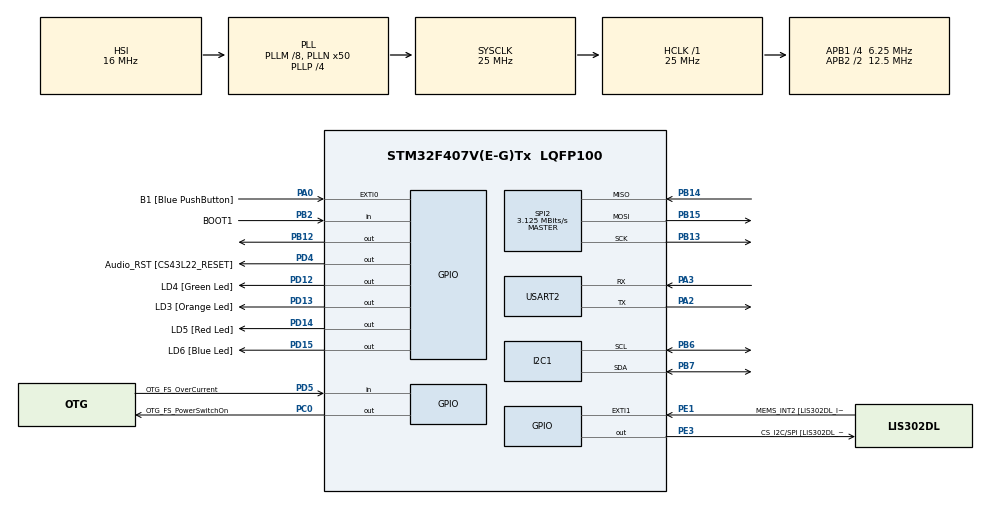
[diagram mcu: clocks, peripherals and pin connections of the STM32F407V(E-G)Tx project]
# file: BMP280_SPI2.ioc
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ADC1.Channel-0\#ChannelRegularConversion=ADC_CHANNEL_TEMPSENSOR
ADC1.NbrOfConversion=1
ADC1.NbrOfConversionFlag=1
ADC1.Rank-0\#ChannelRegularConversion=1
ADC1.SamplingTime-0\#ChannelRegularConversion=ADC_SAMPLETIME_3CYCLES
ADC1.master=1
Mcu.Family=STM32F4
Mcu.Name=STM32F407V(E-G)Tx
Mcu.Package=LQFP100
NVIC.ADC_IRQn=true\:0\:0\:false\:false\:true\:true\:true\:true
NVIC.I2C1_ER_IRQn=true\:0\:0\:false\:false\:true\:true\:true\:true
NVIC.I2C1_EV_IRQn=true\:0\:0\:false\:false\:true\:true\:true\:true
NVIC.PriorityGroup=NVIC_PRIORITYGROUP_4
NVIC.TIM6_DAC_IRQn=true\:0\:0\:false\:false\:true\:false\:true\:true
NVIC.TimeBase=TIM6_DAC_IRQn
NVIC.TimeBaseIP=TIM6
NVIC.USART2_IRQn=true\:0\:0\:false\:false\:true\:true\:true\:true
PA0-WKUP.GPIO_Label=B1 [Blue PushButton]
PA0-WKUP.Signal=GPXTI0
PA10.GPIO_Label=OTG_FS_ID
PA10.GPIO_Mode=GPIO_MODE_AF_PP
PA10.GPIO_PuPd=GPIO_NOPULL
PA10.GPIO_Speed=GPIO_SPEED_FREQ_LOW
PA10.Signal=USB_OTG_FS_ID
PA11.GPIO_Label=OTG_FS_DM
PA11.GPIO_Mode=GPIO_MODE_AF_PP
PA11.GPIO_PuPd=GPIO_NOPULL
PA11.GPIO_Speed=GPIO_SPEED_FREQ_LOW
PA11.Signal=USB_OTG_FS_DM
PA12.GPIO_Label=OTG_FS_DP
PA12.GPIO_Mode=GPIO_MODE_AF_PP
PA12.GPIO_PuPd=GPIO_NOPULL
PA12.GPIO_Speed=GPIO_SPEED_FREQ_LOW
PA12.Signal=USB_OTG_FS_DP
PA13.GPIO_Label=SWDIO
PA13.Signal=SYS_JTMS-SWDIO
PA14.GPIO_Label=SWCLK
PA14.Signal=SYS_JTCK-SWCLK
PA2.Mode=Asynchronous
PA2.Signal=USART2_TX
PA3.Mode=Asynchronous
PA3.Signal=USART2_RX
PA4.GPIO_Label=I2S3_WS [CS43L22_LRCK]
PA4.GPIO_Mode=GPIO_MODE_AF_PP
PA4.GPIO_PuPd=GPIO_NOPULL
PA4.GPIO_Speed=GPIO_SPEED_FREQ_LOW
PA4.Signal=I2S3_WS
PA5.GPIO_Label=SPI1_SCK [LIS302DL_SCL/SPC]
PA5.GPIO_Mode=GPIO_MODE_AF_PP
PA5.GPIO_PuPd=GPIO_NOPULL
PA5.GPIO_Speed=GPIO_SPEED_FREQ_LOW
PA5.Signal=SPI1_SCK
PA6.GPIO_Label=SPI1_MISO [LIS302DL_SDO]
PA6.GPIO_Mode=GPIO_MODE_AF_PP
PA6.GPIO_PuPd=GPIO_NOPULL
PA6.GPIO_Speed=GPIO_SPEED_FREQ_LOW
PA6.Signal=SPI1_MISO
PA7.GPIO_Label=SPI1_MOSI [LIS302DL_SDA/SDI/SDO]
PA7.GPIO_Mode=GPIO_MODE_AF_PP
PA7.GPIO_PuPd=GPIO_NOPULL
PA7.GPIO_Speed=GPIO_SPEED_FREQ_LOW
PA7.Signal=SPI1_MOSI
PA9.GPIO_Label=VBUS_FS
PA9.GPIO_Mode=GPIO_MODE_INPUT
PA9.GPIO_PuPd=GPIO_NOPULL
PA9.Signal=USB_OTG_FS_VBUS
PB10.GPIO_Label=CLK_IN [MP45DT02_CLK]
PB10.GPIO_Mode=GPIO_MODE_AF_PP
PB10.GPIO_PuPd=GPIO_NOPULL
PB10.GPIO_Speed=GPIO_SPEED_FREQ_LOW
PB10.Signal=I2S2_CK
PB12.Signal=GPIO_Output
PB13.Mode=Full_Duplex_Master
PB13.Signal=SPI2_SCK
PB14.Mode=Full_Duplex_Master
PB14.Signal=SPI2_MISO
PB15.Mode=Full_Duplex_Master
PB15.Signal=SPI2_MOSI
PB2.GPIO_Label=BOOT1
PB2.GPIO_Mode=GPIO_MODE_INPUT
PB2.GPIO_PuPd=GPIO_NOPULL
PB2.Signal=GPIO_Input
PB3.GPIO_Label=SWO
PB3.Signal=SYS_JTDO-SWO
PB6.GPIO_Pu=GPIO_PULLUP
PB6.Mode=I2C
PB6.Signal=I2C1_SCL
PB7.GPIO_Pu=GPIO_PULLUP
PB7.Mode=I2C
PB7.Signal=I2C1_SDA
PC0.GPIO_Label=OTG_FS_PowerSwitchOn
PC0.GPIO_PuPd=GPIO_NOPULL
PC0.GPIO_Speed=GPIO_SPEED_FREQ_LOW
PC0.PinState=GPIO_PIN_SET
PC0.Signal=GPIO_Output
PC10.GPIO_Label=I2S3_SCK [CS43L22_SCLK]
PC10.GPIO_Mode=GPIO_MODE_AF_PP
PC10.GPIO_PuPd=GPIO_NOPULL
PC10.GPIO_Speed=GPIO_SPEED_FREQ_LOW
PC10.Signal=I2S3_CK
PC12.GPIO_Label=I2S3_SD [CS43L22_SDIN]
PC12.GPIO_Mode=GPIO_MODE_AF_PP
PC12.GPIO_PuPd=GPIO_NOPULL
PC12.GPIO_Speed=GPIO_SPEED_FREQ_LOW
PC12.Signal=I2S3_SD
PC14-OSC32_IN.GPIO_Label=PC14-OSC32_IN
PC14-OSC32_IN.Signal=RCC_OSC32_IN
PC15-OSC32_OUT.GPIO_Label=PC15-OSC32_OUT
PC15-OSC32_OUT.Signal=RCC_OSC32_OUT
PC3.GPIO_Label=PDM_OUT [MP45DT02_DOUT]
PC3.GPIO_Mode=GPIO_MODE_AF_PP
PC3.GPIO_PuPd=GPIO_NOPULL
PC3.GPIO_Speed=GPIO_SPEED_FREQ_LOW
PC3.Signal=I2S2_SD
PC7.GPIO_Label=I2S3_MCK [CS43L22_MCLK]
PC7.GPIO_Mode=GPIO_MODE_AF_PP
PC7.GPIO_PuPd=GPIO_NOPULL
PC7.GPIO_Speed=GPIO_SPEED_FREQ_LOW
PC7.Signal=I2S3_MCK
PD12.GPIO_Label=LD4 [Green Led]
PD12.GPIO_PuPd=GPIO_NOPULL
PD12.GPIO_Speed=GPIO_SPEED_FREQ_LOW
PD12.Signal=GPIO_Output
PD13.GPIO_Label=LD3 [Orange Led]
PD13.GPIO_PuPd=GPIO_NOPULL
PD13.GPIO_Speed=GPIO_SPEED_FREQ_LOW
PD13.Signal=GPIO_Output
PD14.GPIO_Label=LD5 [Red Led]
PD14.GPIO_PuPd=GPIO_NOPULL
PD14.GPIO_Speed=GPIO_SPEED_FREQ_LOW
PD14.Signal=GPIO_Output
PD15.GPIO_Label=LD6 [Blue Led]
PD15.GPIO_PuPd=GPIO_NOPULL
PD15.GPIO_Speed=GPIO_SPEED_FREQ_LOW
PD15.Signal=GPIO_Output
PD4.GPIO_Label=Audio_RST [CS43L22_RESET]
PD4.GPIO_PuPd=GPIO_NOPULL
PD4.GPIO_Speed=GPIO_SPEED_FREQ_LOW
PD4.Signal=GPIO_Output
PD5.GPIO_Label=OTG_FS_OverCurrent
PD5.GPIO_Mode=GPIO_MODE_INPUT
PD5.GPIO_PuPd=GPIO_NOPULL
PD5.Signal=GPIO_Input
PE1.GPIO_Label=MEMS_INT2 [LIS302DL_INT2]
PE1.GPIO_ModeDefaultEXTI=GPIO_MODE_EVT_RISING
PE1.GPIO_PuPd=GPIO_NOPULL
PE1.Signal=GPXTI1
PE3.GPIO_Label=CS_I2C/SPI [LIS302DL_CS_I2C/SPI]
PE3.GPIO_PuPd=GPIO_NOPULL
PE3.GPIO_Speed=GPIO_SPEED_FREQ_LOW
PE3.Signal=GPIO_Output
PH0-OSC_IN.GPIO_Label=PH0-OSC_IN
PH0-OSC_IN.Signal=RCC_OSC_IN
PH1-OSC_OUT.GPIO_Label=PH1-OSC_OUT
PH1-OSC_OUT.Signal=RCC_OSC_OUT
ProjectManager.HeapSize=0x200
ProjectManager.StackSize=0x400
ProjectManager.TargetToolchain=STM32CubeIDE
RCC.48MHZClocksFreq_Value=14285714.285714285
RCC.AHBFreq_Value=25000000
RCC.APB1CLKDivider=RCC_HCLK_DIV4
RCC.APB1Freq_Value=6250000
RCC.APB1TimFreq_Value=12500000
RCC.APB2CLKDivider=RCC_HCLK_DIV2
RCC.APB2Freq_Value=12500000
RCC.APB2TimFreq_Value=25000000
RCC.CortexFreq_Value=25000000
RCC.HCLKFreq_Value=25000000
RCC.HSE_VALUE=8000000
RCC.HSI_VALUE=16000000
RCC.LSE_VALUE=32768
RCC.PLLM=8
RCC.PLLN=50
RCC.PLLP=RCC_PLLP_DIV4
RCC.PLLQ=7
RCC.SYSCLKFreq_VALUE=25000000
RCC.SYSCLKSource=RCC_SYSCLKSOURCE_PLLCLK
RCC.VCOOutputFreq_Value=100000000
SPI2.CalculateBaudRate=3.125 MBits/s
SPI2.Direction=SPI_DIRECTION_2LINES
SPI2.Mode=SPI_MODE_MASTER
SPI2.VirtualType=VM_MASTER
USART2.VirtualMode=VM_ASYNC
VP_ADC1_TempSens_Input.Mode=IN-TempSens
VP_SYS_VS_tim6.Mode=TIM6
board=STM32F407G-DISC1

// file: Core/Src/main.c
/* USER CODE BEGIN Header */
/**
  ******************************************************************************
  * @file           : main.c
  * @brief          : Main program body
  ******************************************************************************
  * @attention
  *
  * Copyright (c) 2025 STMicroelectronics.
  * All rights reserved.
  *
  * This software is licensed under terms that can be found in the LICENSE file
  * in the root directory of this software component.
  * If no LICENSE file comes with this software, it is provided AS-IS.
  *
  ******************************************************************************
  */
/* USER CODE END Header */
#include "main.h"

/* USER CODE BEGIN Includes */
#include <stdio.h>
#include <string.h>
#include "BMP280_SPI.h"
#include "BMP280_I2C.h"
#include "uart_handler.h"
#include "led_control.h"

#include "FreeRTOS.h"
#include "task.h"
#include "queue.h"
/* USER CODE END Includes */

/* USER CODE BEGIN PD */

#define UART_QUEUE_SIZE  10
#define UART_MSG_MAX_LEN 50

/* USER CODE END PD */

ADC_HandleTypeDef hadc1;

I2C_HandleTypeDef hi2c1;

SPI_HandleTypeDef hspi2;

UART_HandleTypeDef huart2;

/* USER CODE BEGIN PV */
TaskHandle_t LED_TaskHandle;
TaskHandle_t BMP280_SensorHandle;
QueueHandle_t uartQueue;
uint8_t cmdBuffer[RX_BUFFER_SIZE];

/* USER CODE END PV */

void SystemClock_Config(void);
static void MX_GPIO_Init(void);
static void MX_SPI2_Init(void);
static void MX_USART2_UART_Init(void);
static void MX_I2C1_Init(void);
static void MX_ADC1_Init(void);

/* USER CODE BEGIN 0 */

void LED_Task(void *pvParameters) {

    for (;;) {
        HAL_GPIO_TogglePin(GPIOD, GPIO_PIN_15);  // Toggle LED
        vTaskDelay(pdMS_TO_TICKS(1000));       // 1-second delay

        // Wait for a command from the queue
        if (xQueueReceive(uartQueue, cmdBuffer, portMAX_DELAY)) {
            Process_LED_Commands((const char *)cmdBuffer);
            vTaskDelay(pdMS_TO_TICKS(1000));
        }
    }
}

void BMP280_Sensor_Task(void *pvArgs)
{
	uint8_t BMP280_I2C_DeviceID = BMP280_I2C_Init();

	if (BMP280_I2C_DeviceID )
	{
	  printf("Velu BMP280 I2C Chip ID: 0x%X\r\n", BMP280_I2C_DeviceID);
	}
	for(;;){
		BMP280_I2C_ReadSensorData();
	    vTaskDelay(pdMS_TO_TICKS(1000));       // 1-second delay

	}

}

void create_rtos_tasks() {
    // Create the LED control task
    BaseType_t ledTaskStatus = xTaskCreate(LED_Task, "LED_Task", 256, NULL, 1, &LED_TaskHandle);
    if (ledTaskStatus != pdPASS) {
        printf("Failed to create LED Task \r\n");
    }

    BaseType_t sensorTaskStatus = xTaskCreate(BMP280_Sensor_Task, "Sensor_Task", 512, NULL, 2, &BMP280_SensorHandle);  // Higher priority
    	  if ( sensorTaskStatus != pdPASS)
    	  {
    		  printf("Failed to create BMP280 Sensor Task \r\n");
    	  }

    printf("RTOS task created  \r\n");

}

/* USER CODE END 0 */

int main(void)
{

  /* MCU Configuration--------------------------------------------------------*/

  /* Reset of all peripherals, Initializes the Flash interface and the Systick. */
  HAL_Init();

  /* Configure the system clock */
  SystemClock_Config();

  /* Initialize all configured peripherals */
  MX_GPIO_Init();
  MX_SPI2_Init();
  MX_USART2_UART_Init();
  MX_I2C1_Init();
  MX_ADC1_Init();
  /* USER CODE BEGIN 2 */

  UART_Init(&huart2);

  if (!BMP280_SPI_Init())
  {
      printf("BMP280 not Initialized\r\n");
      //return 0;
  }

  uartQueue = xQueueCreate(3,RX_BUFFER_SIZE * sizeof(char));
  if (uartQueue == NULL) {
      printf("Queue creation failed!\r\n");
  }

  create_rtos_tasks();

  // Start the FreeRTOS scheduler
  vTaskStartScheduler();

  /* USER CODE END 2 */

  /* Infinite loop */
  /* USER CODE BEGIN WHILE */
 // uint32_t lastTick = 0;
  while (1)
  {
    /* USER CODE END WHILE */

    /* USER CODE BEGIN 3 */
	//HAL_Delay(1000);

/*	if (HAL_GetTick() - lastTick >= 500) // Check if 1 second has passed
	{
		lastTick = HAL_GetTick();
		//BMP280_SPI_ReadSensorData();

	} */

  }
  /* USER CODE END 3 */
}

void SystemClock_Config(void)
{
  RCC_OscInitTypeDef RCC_OscInitStruct = {0};
  RCC_ClkInitTypeDef RCC_ClkInitStruct = {0};

  /** Configure the main internal regulator output voltage
  */
  __HAL_RCC_PWR_CLK_ENABLE();
  __HAL_PWR_VOLTAGESCALING_CONFIG(PWR_REGULATOR_VOLTAGE_SCALE1);

  /** Initializes the RCC Oscillators according to the specified parameters
  * in the RCC_OscInitTypeDef structure.
  */
  RCC_OscInitStruct.OscillatorType = RCC_OSCILLATORTYPE_HSI;
  RCC_OscInitStruct.HSIState = RCC_HSI_ON;
  RCC_OscInitStruct.HSICalibrationValue = RCC_HSICALIBRATION_DEFAULT;
  RCC_OscInitStruct.PLL.PLLState = RCC_PLL_ON;
  RCC_OscInitStruct.PLL.PLLSource = RCC_PLLSOURCE_HSI;
  RCC_OscInitStruct.PLL.PLLM = 8;
  RCC_OscInitStruct.PLL.PLLN = 50;
  RCC_OscInitStruct.PLL.PLLP = RCC_PLLP_DIV4;
  RCC_OscInitStruct.PLL.PLLQ = 7;
  if (HAL_RCC_OscConfig(&RCC_OscInitStruct) != HAL_OK)
  {
    Error_Handler();
  }

  /** Initializes the CPU, AHB and APB buses clocks
  */
  RCC_ClkInitStruct.ClockType = RCC_CLOCKTYPE_HCLK|RCC_CLOCKTYPE_SYSCLK
                              |RCC_CLOCKTYPE_PCLK1|RCC_CLOCKTYPE_PCLK2;
  RCC_ClkInitStruct.SYSCLKSource = RCC_SYSCLKSOURCE_PLLCLK;
  RCC_ClkInitStruct.AHBCLKDivider = RCC_SYSCLK_DIV1;
  RCC_ClkInitStruct.APB1CLKDivider = RCC_HCLK_DIV4;
  RCC_ClkInitStruct.APB2CLKDivider = RCC_HCLK_DIV2;

  if (HAL_RCC_ClockConfig(&RCC_ClkInitStruct, FLASH_LATENCY_0) != HAL_OK)
  {
    Error_Handler();
  }
}

static void MX_ADC1_Init(void)
{

  ADC_ChannelConfTypeDef sConfig = {0};

  /** Configure the global features of the ADC (Clock, Resolution, Data Alignment and number of conversion)
  */
  hadc1.Instance = ADC1;
  hadc1.Init.ClockPrescaler = ADC_CLOCK_SYNC_PCLK_DIV2;
  hadc1.Init.Resolution = ADC_RESOLUTION_12B;
  hadc1.Init.ScanConvMode = DISABLE;
  hadc1.Init.ContinuousConvMode = DISABLE;
  hadc1.Init.DiscontinuousConvMode = DISABLE;
  hadc1.Init.ExternalTrigConvEdge = ADC_EXTERNALTRIGCONVEDGE_NONE;
  hadc1.Init.ExternalTrigConv = ADC_SOFTWARE_START;
  hadc1.Init.DataAlign = ADC_DATAALIGN_RIGHT;
  hadc1.Init.NbrOfConversion = 1;
  hadc1.Init.DMAContinuousRequests = DISABLE;
  hadc1.Init.EOCSelection = ADC_EOC_SINGLE_CONV;
  if (HAL_ADC_Init(&hadc1) != HAL_OK)
  {
    Error_Handler();
  }

  /** Configure for the selected ADC regular channel its corresponding rank in the sequencer and its sample time.
  */
  sConfig.Channel = ADC_CHANNEL_TEMPSENSOR;
  sConfig.Rank = 1;
  sConfig.SamplingTime = ADC_SAMPLETIME_3CYCLES;
  if (HAL_ADC_ConfigChannel(&hadc1, &sConfig) != HAL_OK)
  {
    Error_Handler();
  }

}

static void MX_I2C1_Init(void)
{

  hi2c1.Instance = I2C1;
  hi2c1.Init.ClockSpeed = 100000;
  hi2c1.Init.DutyCycle = I2C_DUTYCYCLE_2;
  hi2c1.Init.OwnAddress1 = 0;
  hi2c1.Init.AddressingMode = I2C_ADDRESSINGMODE_7BIT;
  hi2c1.Init.DualAddressMode = I2C_DUALADDRESS_DISABLE;
  hi2c1.Init.OwnAddress2 = 0;
  hi2c1.Init.GeneralCallMode = I2C_GENERALCALL_DISABLE;
  hi2c1.Init.NoStretchMode = I2C_NOSTRETCH_DISABLE;
  if (HAL_I2C_Init(&hi2c1) != HAL_OK)
  {
    Error_Handler();
  }
  /* USER CODE BEGIN I2C1_Init 2 */

  HAL_NVIC_SetPriority(I2C1_EV_IRQn, 1, 0); // Set priority
  HAL_NVIC_EnableIRQ(I2C1_EV_IRQn);        // Enable SPI2 interrupt
  HAL_NVIC_EnableIRQ(I2C1_ER_IRQn);        // Enable SPI2 interrupt

  /* USER CODE END I2C1_Init 2 */

}

static void MX_SPI2_Init(void)
{

  /* SPI2 parameter configuration*/
  hspi2.Instance = SPI2;
  hspi2.Init.Mode = SPI_MODE_MASTER;
  hspi2.Init.Direction = SPI_DIRECTION_2LINES;
  hspi2.Init.DataSize = SPI_DATASIZE_8BIT;
  hspi2.Init.CLKPolarity = SPI_POLARITY_LOW;
  hspi2.Init.CLKPhase = SPI_PHASE_1EDGE;
  hspi2.Init.NSS = SPI_NSS_SOFT;
  hspi2.Init.BaudRatePrescaler = SPI_BAUDRATEPRESCALER_2;
  hspi2.Init.FirstBit = SPI_FIRSTBIT_MSB;
  hspi2.Init.TIMode = SPI_TIMODE_DISABLE;
  hspi2.Init.CRCCalculation = SPI_CRCCALCULATION_DISABLE;
  hspi2.Init.CRCPolynomial = 10;
  if (HAL_SPI_Init(&hspi2) != HAL_OK)
  {
    Error_Handler();
  }
  /* USER CODE BEGIN SPI2_Init 2 */

  HAL_NVIC_SetPriority(SPI2_IRQn, 1, 0); // Set priority
  HAL_NVIC_EnableIRQ(SPI2_IRQn);        // Enable SPI2 interrupt

  /* USER CODE END SPI2_Init 2 */

}

static void MX_USART2_UART_Init(void)
{

  huart2.Instance = USART2;
  huart2.Init.BaudRate = 115200;
  huart2.Init.WordLength = UART_WORDLENGTH_8B;
  huart2.Init.StopBits = UART_STOPBITS_1;
  huart2.Init.Parity = UART_PARITY_NONE;
  huart2.Init.Mode = UART_MODE_TX_RX;
  huart2.Init.HwFlowCtl = UART_HWCONTROL_NONE;
  huart2.Init.OverSampling = UART_OVERSAMPLING_16;
  if (HAL_UART_Init(&huart2) != HAL_OK)
  {
    Error_Handler();
  }
  /* USER CODE BEGIN USART2_Init 2 */

  HAL_NVIC_SetPriority(USART2_IRQn, 5, 0);
  HAL_NVIC_EnableIRQ(USART2_IRQn);

  /* USER CODE END USART2_Init 2 */

}

static void MX_GPIO_Init(void)
{
  GPIO_InitTypeDef GPIO_InitStruct = {0};

  /* GPIO Ports Clock Enable */
  __HAL_RCC_GPIOE_CLK_ENABLE();
  __HAL_RCC_GPIOC_CLK_ENABLE();
  __HAL_RCC_GPIOH_CLK_ENABLE();
  __HAL_RCC_GPIOA_CLK_ENABLE();
  __HAL_RCC_GPIOB_CLK_ENABLE();
  __HAL_RCC_GPIOD_CLK_ENABLE();

  /*Configure GPIO pin Output Level */
  HAL_GPIO_WritePin(CS_I2C_SPI_GPIO_Port, CS_I2C_SPI_Pin, GPIO_PIN_RESET);

  /*Configure GPIO pin Output Level */
  HAL_GPIO_WritePin(OTG_FS_PowerSwitchOn_GPIO_Port, OTG_FS_PowerSwitchOn_Pin, GPIO_PIN_SET);

  /*Configure GPIO pin Output Level */
  HAL_GPIO_WritePin(GPIOB, GPIO_PIN_12, GPIO_PIN_RESET);

  /*Configure GPIO pin Output Level */
  HAL_GPIO_WritePin(GPIOD, LD4_Pin|LD3_Pin|LD5_Pin|LD6_Pin
                          |Audio_RST_Pin, GPIO_PIN_RESET);

  /*Configure GPIO pin : CS_I2C_SPI_Pin */
  GPIO_InitStruct.Pin = CS_I2C_SPI_Pin;
  GPIO_InitStruct.Mode = GPIO_MODE_OUTPUT_PP;
  GPIO_InitStruct.Pull = GPIO_NOPULL;
  GPIO_InitStruct.Speed = GPIO_SPEED_FREQ_LOW;
  HAL_GPIO_Init(CS_I2C_SPI_GPIO_Port, &GPIO_InitStruct);

  /*Configure GPIO pin : OTG_FS_PowerSwitchOn_Pin */
  GPIO_InitStruct.Pin = OTG_FS_PowerSwitchOn_Pin;
  GPIO_InitStruct.Mode = GPIO_MODE_OUTPUT_PP;
  GPIO_InitStruct.Pull = GPIO_NOPULL;
  GPIO_InitStruct.Speed = GPIO_SPEED_FREQ_LOW;
  HAL_GPIO_Init(OTG_FS_PowerSwitchOn_GPIO_Port, &GPIO_InitStruct);

  /*Configure GPIO pin : PDM_OUT_Pin */
  GPIO_InitStruct.Pin = PDM_OUT_Pin;
  GPIO_InitStruct.Mode = GPIO_MODE_AF_PP;
  GPIO_InitStruct.Pull = GPIO_NOPULL;
  GPIO_InitStruct.Speed = GPIO_SPEED_FREQ_LOW;
  GPIO_InitStruct.Alternate = GPIO_AF5_SPI2;
  HAL_GPIO_Init(PDM_OUT_GPIO_Port, &GPIO_InitStruct);

  /*Configure GPIO pin : B1_Pin */
  GPIO_InitStruct.Pin = B1_Pin;
  GPIO_InitStruct.Mode = GPIO_MODE_IT_RISING;
  GPIO_InitStruct.Pull = GPIO_NOPULL;
  HAL_GPIO_Init(B1_GPIO_Port, &GPIO_InitStruct);

  /*Configure GPIO pin : I2S3_WS_Pin */
  GPIO_InitStruct.Pin = I2S3_WS_Pin;
  GPIO_InitStruct.Mode = GPIO_MODE_AF_PP;
  GPIO_InitStruct.Pull = GPIO_NOPULL;
  GPIO_InitStruct.Speed = GPIO_SPEED_FREQ_LOW;
  GPIO_InitStruct.Alternate = GPIO_AF6_SPI3;
  HAL_GPIO_Init(I2S3_WS_GPIO_Port, &GPIO_InitStruct);

  /*Configure GPIO pins : SPI1_SCK_Pin SPI1_MISO_Pin SPI1_MOSI_Pin */
  GPIO_InitStruct.Pin = SPI1_SCK_Pin|SPI1_MISO_Pin|SPI1_MOSI_Pin;
  GPIO_InitStruct.Mode = GPIO_MODE_AF_PP;
  GPIO_InitStruct.Pull = GPIO_NOPULL;
  GPIO_InitStruct.Speed = GPIO_SPEED_FREQ_LOW;
  GPIO_InitStruct.Alternate = GPIO_AF5_SPI1;
  HAL_GPIO_Init(GPIOA, &GPIO_InitStruct);

  /*Configure GPIO pin : BOOT1_Pin */
  GPIO_InitStruct.Pin = BOOT1_Pin;
  GPIO_InitStruct.Mode = GPIO_MODE_INPUT;
  GPIO_InitStruct.Pull = GPIO_NOPULL;
  HAL_GPIO_Init(BOOT1_GPIO_Port, &GPIO_InitStruct);

  /*Configure GPIO pin : CLK_IN_Pin */
  GPIO_InitStruct.Pin = CLK_IN_Pin;
  GPIO_InitStruct.Mode = GPIO_MODE_AF_PP;
  GPIO_InitStruct.Pull = GPIO_NOPULL;
  GPIO_InitStruct.Speed = GPIO_SPEED_FREQ_LOW;
  GPIO_InitStruct.Alternate = GPIO_AF5_SPI2;
  HAL_GPIO_Init(CLK_IN_GPIO_Port, &GPIO_InitStruct);

  /*Configure GPIO pin : PB12 */
  GPIO_InitStruct.Pin = GPIO_PIN_12;
  GPIO_InitStruct.Mode = GPIO_MODE_OUTPUT_PP;
  GPIO_InitStruct.Pull = GPIO_NOPULL;
  GPIO_InitStruct.Speed = GPIO_SPEED_FREQ_LOW;
  HAL_GPIO_Init(GPIOB, &GPIO_InitStruct);

  /*Configure GPIO pins : LD4_Pin LD3_Pin LD5_Pin LD6_Pin
                           Audio_RST_Pin */
  GPIO_InitStruct.Pin = LD4_Pin|LD3_Pin|LD5_Pin|LD6_Pin
                          |Audio_RST_Pin;
  GPIO_InitStruct.Mode = GPIO_MODE_OUTPUT_PP;
  GPIO_InitStruct.Pull = GPIO_NOPULL;
  GPIO_InitStruct.Speed = GPIO_SPEED_FREQ_LOW;
  HAL_GPIO_Init(GPIOD, &GPIO_InitStruct);

  /*Configure GPIO pins : I2S3_MCK_Pin I2S3_SCK_Pin I2S3_SD_Pin */
  GPIO_InitStruct.Pin = I2S3_MCK_Pin|I2S3_SCK_Pin|I2S3_SD_Pin;
  GPIO_InitStruct.Mode = GPIO_MODE_AF_PP;
  GPIO_InitStruct.Pull = GPIO_NOPULL;
  GPIO_InitStruct.Speed = GPIO_SPEED_FREQ_LOW;
  GPIO_InitStruct.Alternate = GPIO_AF6_SPI3;
  HAL_GPIO_Init(GPIOC, &GPIO_InitStruct);

  /*Configure GPIO pin : VBUS_FS_Pin */
  GPIO_InitStruct.Pin = VBUS_FS_Pin;
  GPIO_InitStruct.Mode = GPIO_MODE_INPUT;
  GPIO_InitStruct.Pull = GPIO_NOPULL;
  HAL_GPIO_Init(VBUS_FS_GPIO_Port, &GPIO_InitStruct);

  /*Configure GPIO pins : OTG_FS_ID_Pin OTG_FS_DM_Pin OTG_FS_DP_Pin */
  GPIO_InitStruct.Pin = OTG_FS_ID_Pin|OTG_FS_DM_Pin|OTG_FS_DP_Pin;
  GPIO_InitStruct.Mode = GPIO_MODE_AF_PP;
  GPIO_InitStruct.Pull = GPIO_NOPULL;
  GPIO_InitStruct.Speed = GPIO_SPEED_FREQ_LOW;
  GPIO_InitStruct.Alternate = GPIO_AF10_OTG_FS;
  HAL_GPIO_Init(GPIOA, &GPIO_InitStruct);

  /*Configure GPIO pin : OTG_FS_OverCurrent_Pin */
  GPIO_InitStruct.Pin = OTG_FS_OverCurrent_Pin;
  GPIO_InitStruct.Mode = GPIO_MODE_INPUT;
  GPIO_InitStruct.Pull = GPIO_NOPULL;
  HAL_GPIO_Init(OTG_FS_OverCurrent_GPIO_Port, &GPIO_InitStruct);

  /*Configure GPIO pin : MEMS_INT2_Pin */
  GPIO_InitStruct.Pin = MEMS_INT2_Pin;
  GPIO_InitStruct.Mode = GPIO_MODE_EVT_RISING;
  GPIO_InitStruct.Pull = GPIO_NOPULL;
  HAL_GPIO_Init(MEMS_INT2_GPIO_Port, &GPIO_InitStruct);

}

/* USER CODE BEGIN 4 */

void vApplicationIdleHook(void) {
    // Optional: Add low-priority background tasks here
    // For now, leave it empty if not needed
}

/* USER CODE END 4 */

void HAL_TIM_PeriodElapsedCallback(TIM_HandleTypeDef *htim)
{
  if (htim->Instance == TIM6) {
    HAL_IncTick();
  }
}

void Error_Handler(void)
{
  __disable_irq();
  while (1)
  {
  }
}
